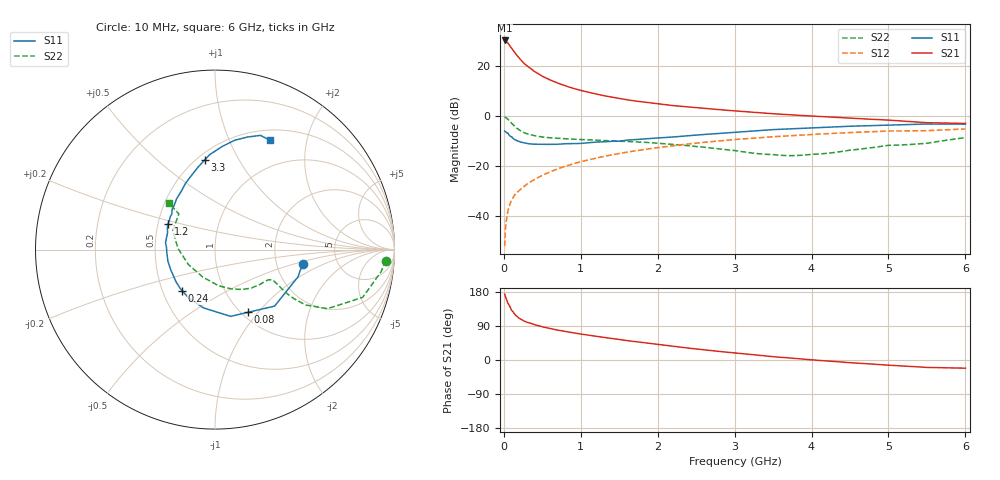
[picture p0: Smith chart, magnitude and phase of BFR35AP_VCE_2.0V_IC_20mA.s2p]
! Infineon Technologies  Discrete & RF Semiconductors
! BFR35AP
! VCE =  2.0 V,  IC =  20 mA
! Common Emitter S-Parameters:  Nov 2015
# GHz  S  MA  R  50
!  f  S11  S21  S12  S22
! GHz  MAG  ANG  MAG  ANG  MAG  ANG  MAG  ANG
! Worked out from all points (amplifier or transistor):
!   210 points, 10 MHz to 6 GHz, reference 50 ohm
!   highest |S21| = 30.1 dB at 10 MHz (marker M1)
!   |S21| within 3 dB of that: start of sweep to 99.04 MHz
!   unconditionally stable (mu >= 1): 345.4 MHz to 3.85 GHz; 5.351 GHz to 5.873 GHz
!   at 185 MHz: K = 0.79, MSG = 26.9 dB, |S12| = -30.3 dB
!   at 1.52 GHz: K = 1.14, MAG = 8.7 dB, |S12| = -15.0 dB
!   at 6 GHz: K = 1.00, MSG = 1.1 dB, |S12| = -5.3 dB
!   S11 on the Smith chart (normalised r, x): 10 MHz: 2.81, -0.59; 80 MHz: 1.07, -0.89; 240 MHz: 0.63, -0.32; 1.2 GHz: 0.56, +0.18; 3.3 GHz: 0.55, +0.73; 6 GHz: 0.63, +1.43
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0.01  0.494 -9.3  31.85 173.8  0.0025 92.4  0.9529 -3.7
0.02  0.4869 -18.1  31.3 167.6  0.0054 82.8  0.9329 -7.7
0.05  0.4575 -43.5  28.72 151.2  0.0121 74.4  0.8647 -17.9
0.08  0.3951 -62.1  24.6 140.5  0.0173 68.8  0.7669 -23.4
0.1  0.382 -76.8  22.46 131.4  0.0209 66.7  0.7065 -27.8
0.15  0.3312 -101.1  17.46 118.3  0.0274 64.3  0.5917 -31.4
0.2  0.3074 -117.9  14.07 110.0  0.0321 65.1  0.5179 -31.9
0.24  0.2937 -128.4  12.11 105.4  0.0364 65.6  0.4783 -31.5
0.3  0.2811 -140.8  9.915 99.6  0.0431 67.1  0.4377 -30.6
0.4  0.271 -156.2  7.627 93.1  0.0537 68.4  0.399 -29.1
0.5  0.2702 -166.6  6.149 87.5  0.0647 69.3  0.3763 -28.1
0.7  0.2704 177.5  4.495 78.8  0.0873 69.4  0.3552 -28.3
0.9  0.2783 166.0  3.53 71.7  0.1099 68.2  0.3409 -29.7
1.02  0.2827 159.3  3.15 67.9  0.1232 67.4  0.3354 -31.1
1.2  0.2985 151.5  2.721 62.3  0.1434 65.8  0.3263 -33.8
1.6  0.3272 137.0  2.087 51.2  0.188 61.5  0.307 -41.1
2.02  0.3622 124.2  1.717 40.5  0.2335 56.5  0.2819 -50.6
3.1  0.4793 99.9  1.218 16.7  0.3442 41.9  0.192 -89.0
3.3  0.5037 96.4  1.155 12.9  0.3625 39.0  0.1757 -100.5
4.1  0.5833 84.8  0.969 -1.1  0.4318 28.1  0.1727 -157.9
5.1  0.6583 72.8  0.801 -14.8  0.4965 13.9  0.2594 151.7
6  0.6818 63.4  0.705 -21.6  0.546 3.6  0.3668 134.7
